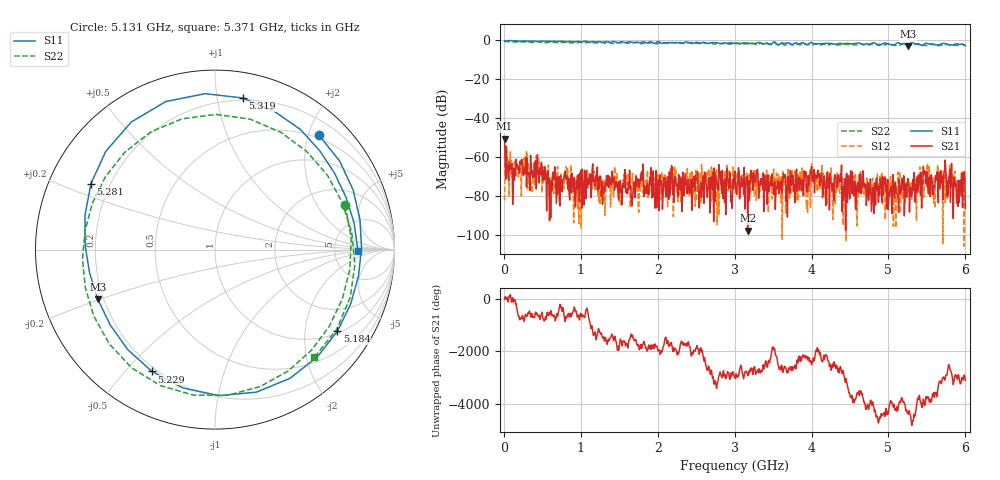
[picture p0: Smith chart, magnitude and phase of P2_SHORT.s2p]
!Keysight Technologies,N5245B,MY52501319,Z.13.01.242
!Date: Monday, February 16, 2026 14:46:37
!Correction: S11(Off)
!S21(Off)
!S12(Off)
!S22(Off)
!S2P File: Measurements: S11, S21, S12, S22:
# Hz S  RI  R 50
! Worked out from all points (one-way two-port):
!   801 points, 10 MHz to 6 GHz, reference 50 ohm
!   highest |S21| = -50.39 dB at 10 MHz (marker M1); lowest = -97.7 dB at 3.17 GHz (marker M2)
!   lowest |S11| = -3.0 dB at 5.251 GHz (marker M3), VSWR 5.88, Z = 8.85 - j9.85 ohm
!   |S11| at or under -10 dB: nowhere
!   |S22| runs from -2.8 to -0.1 dB; largest |S21 - S12| = 0.0031
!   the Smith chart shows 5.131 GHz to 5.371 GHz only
!   S11 on the Smith chart (normalised r, x): 5.131 GHz: 0.44, +2.17; 5.184 GHz: 1.07, -2.96; 5.229 GHz: 0.18, -0.59; 5.281 GHz: 0.13, +0.24; 5.319 GHz: 0.18, +1.18; 5.371 GHz: 8.80, -0.32
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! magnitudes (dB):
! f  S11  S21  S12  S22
! 10 MHz  -0.4  -50.4  -82.1  -0.3
! 47.44 MHz  -0.5  -63.6  -61.2  -0.5
! 122.3 MHz  -0.3  -71.1  -77.5  -0.9
! 287 MHz  -0.4  -59.8  -64.1  -0.9
! 354.4 MHz  -0.4  -64.1  -72.9  -1.0
! 451.8 MHz  -0.6  -67.0  -59.9  -0.8
! 616.5 MHz  -0.6  -72.1  -77.4  -1.0
! 1.013 GHz  -0.8  -86.1  -73.4  -1.1
! 2.009 GHz  -0.6  -71.6  -73.0  -1.6
! 3.005 GHz  -1.5  -67.1  -78.4  -1.8
! 3.17 GHz  -1.5  -97.7  -78.0  -1.9
! 4.008 GHz  -1.2  -72.3  -68.5  -2.2
! 5.004 GHz  -1.9  -81.1  -75.0  -1.8
! 5.131 GHz  -1.3  -88.3  -78.6  -2.3
! 5.184 GHz  -1.7  -73.5  -81.7  -1.9
! 5.229 GHz  -2.3  -77.1  -72.2  -2.3
! 5.251 GHz  -3.0  -70.9  -76.3  -2.7
! 5.281 GHz  -2.1  -76.4  -78.5  -2.5
! 5.319 GHz  -1.3  -71.3  -76.7  -2.5
! 5.371 GHz  -2.0  -70.0  -76.3  -1.8
! 5.715 GHz  -1.5  -72.6  -67.0  -2.3
! 6 GHz  -2.6  -86.2  -72.7  -2.8
